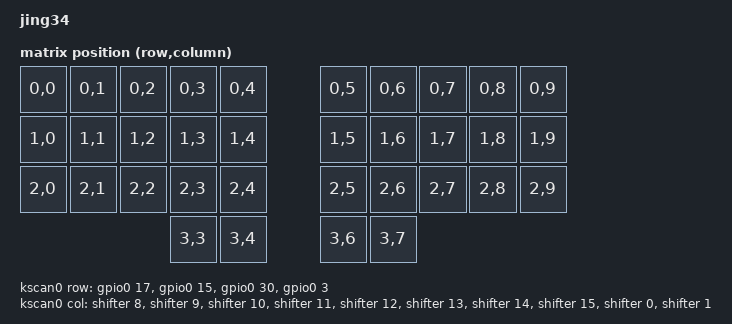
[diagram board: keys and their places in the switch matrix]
/*
 * Copyright (c) 2020 The ZMK Contributors
 *
 * SPDX-License-Identifier: MIT
 */

/dts-v1/;
#include <nordic/nrf52833_qiaa.dtsi>
#include <dt-bindings/zmk/matrix_transform.h>

/ {
    model = "jing34";
    compatible = "jing34";

    chosen {
        zephyr,code-partition = &code_partition;
        zephyr,sram = &sram0;
        zephyr,flash = &flash0;
        zephyr,console = &cdc_acm_uart;
        zmk,battery = &vbatt;
        zmk,kscan = &kscan0;
        zmk,matrix_transform = &default_transform;
    };

    default_transform: keymap_transform_0 {
        compatible = "zmk,matrix-transform";
        columns = <10>;
        rows = <4>;
        map = <
RC(0,0) RC(0,1) RC(0,2) RC(0,3) RC(0,4) RC(0,5) RC(0,6) RC(0,7) RC(0,8) RC(0,9)
RC(1,0) RC(1,1) RC(1,2) RC(1,3) RC(1,4) RC(1,5) RC(1,6) RC(1,7) RC(1,8) RC(1,9)
RC(2,0) RC(2,1) RC(2,2) RC(2,3) RC(2,4) RC(2,5) RC(2,6) RC(2,7) RC(2,8) RC(2,9)
                        RC(3,3) RC(3,4)         RC(3,6) RC(3,7)
                >;
    };


kscan0: kscan {
        compatible = "zmk,kscan-gpio-matrix";
	wakeup-source;

        diode-direction = "col2row";

        row-gpios
            = <&gpio0 17 (GPIO_ACTIVE_HIGH | GPIO_PULL_DOWN)>
            , <&gpio0 15 (GPIO_ACTIVE_HIGH | GPIO_PULL_DOWN)>
            , <&gpio0 30 (GPIO_ACTIVE_HIGH | GPIO_PULL_DOWN)>
            , <&gpio0  3 (GPIO_ACTIVE_HIGH | GPIO_PULL_DOWN)>
            ;


        col-gpios
           = <&shifter  8 GPIO_ACTIVE_HIGH>
           , <&shifter  9 GPIO_ACTIVE_HIGH>
           , <&shifter 10 GPIO_ACTIVE_HIGH>
           , <&shifter 11 GPIO_ACTIVE_HIGH>
           , <&shifter 12 GPIO_ACTIVE_HIGH>
           , <&shifter 13 GPIO_ACTIVE_HIGH>
           , <&shifter 14 GPIO_ACTIVE_HIGH>
           , <&shifter 15 GPIO_ACTIVE_HIGH>
           , <&shifter  0 GPIO_ACTIVE_HIGH>
           , <&shifter  1 GPIO_ACTIVE_HIGH>
            ;

        };


    // Node name must match original "EXT_POWER" label to preserve user settings.
    EXT_POWER {
        compatible = "zmk,ext-power-generic";
        control-gpios = <&gpio0 11 GPIO_ACTIVE_LOW>;
    };

    vbatt: vbatt {
        compatible = "zmk,battery-voltage-divider";
        io-channels = <&adc 3>;
        output-ohms = <10000000>;
        full-ohms = <(10000000 + 2200000)>;
    };
};

&pinctrl {
    spi0_default: spi0_default {
        group1 {
            psels = <NRF_PSEL(SPIM_SCK, 0, 0)>,
                <NRF_PSEL(SPIM_MOSI, 0, 4)>;
        };
    };
    spi0_sleep: spi0_sleep {
        group1 {
            psels = <NRF_PSEL(SPIM_SCK, 0, 0)>,
                <NRF_PSEL(SPIM_MOSI, 0, 4)>;
            low-power-enable;
        };
    };
};

jing34_spi: &spi0 {
    status = "okay";
		compatible = "nordic,nrf-spim";
    pinctrl-0 = <&spi0_default>;
    pinctrl-1 = <&spi0_sleep>;
    pinctrl-names = "default", "sleep";
    cs-gpios = <&gpio0 1 GPIO_ACTIVE_LOW>;
    shifter: 595@0 {
        compatible = "zmk,gpio-595";
        status = "okay";
        gpio-controller;
        spi-max-frequency = <200000>;
        reg = <0>;
        label = "4HC595";
        #gpio-cells = <2>;
        ngpios = <16>;
    };
};

&adc {
    status = "okay";
};

&gpiote {
    status = "okay";
};

&gpio0 {
    status = "okay";
};

&gpio1 {
    status = "okay";
};

zephyr_udc0: &usbd {
    status = "okay";
    cdc_acm_uart: cdc_acm_uart {
        compatible = "zephyr,cdc-acm-uart";
    };
};

&flash0 {
    /*
     * For more information, see:
     * http://docs.zephyrproject.org/latest/devices/dts/flash_partitions.html
     */
    partitions {
        compatible = "fixed-partitions";
        #address-cells = <1>;
        #size-cells = <1>;

        sd_partition: partition@0 {
            reg = <0x00000000 0x00026000>;
        };
        code_partition: partition@27000 {
            reg = <0x00027000 0x00045000>;
        };

        /*
         * The flash starting at 0x0006c000 and ending at
         * 0x00073fff is reserved for use by the application.
         */

        /*
         * Storage partition will be used by FCB/LittleFS/NVS
         * if enabled.
         */
        storage_partition: partition@6c000 {
            reg = <0x0006c000 0x00008000>;
        };

        boot_partition: partition@74000 {
            reg = <0x00074000 0x0000c000>;
        };
    };
};
